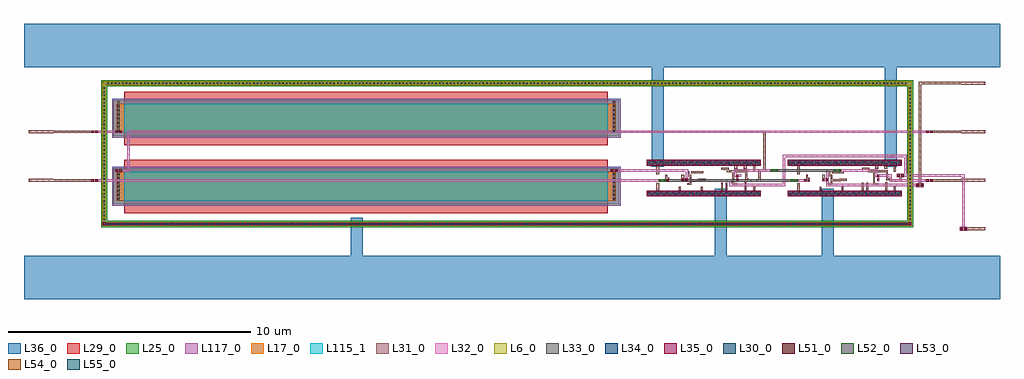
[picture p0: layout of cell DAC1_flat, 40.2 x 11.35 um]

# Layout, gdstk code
import gdstk
lib = gdstk.Library(unit=1e-6, precision=1e-09)
def R(c, l, rs):  # rectangles x0, y0, x1, y1
    for r in rs: c.add(gdstk.rectangle(r[:2], r[2:], *l))
def A(c, l, x, y, w, h, nx, ny, dx, dy):  # array of equal rectangles
    R(c, l, [(x+i*dx, y+j*dy, x+i*dx+w, y+j*dy+h) for i in range(nx) for j in range(ny)])
L6_0 = (6, 0)
L17_0 = (17, 0)
L25_0 = (25, 0)
L29_0 = (29, 0)
L30_0 = (30, 0)
L31_0 = (31, 0)
L32_0 = (32, 0)
L33_0 = (33, 0)
L34_0 = (34, 0)
L35_0 = (35, 0)
L36_0 = (36, 0)
L51_0 = (51, 0)
L52_0 = (52, 0)
L53_0 = (53, 0)
L54_0 = (54, 0)
L55_0 = (55, 0)
L115_1 = (115, 1)
L117_0 = (117, 0)

dac1_flat = lib.new_cell('DAC1_flat')
R(dac1_flat, L6_0, [(2.525,0.125,2.675,0.275), (2.675,0.125,35.725,0.275), (35.725,0.125,35.875,0.275), (2.525,0.275,2.675,5.925), (35.725,0.275,35.875,5.925), (2.525,5.925,2.675,6.075), (2.675,5.925,35.725,6.075), (35.725,5.925,35.875,6.075)])
R(dac1_flat, L17_0, [(3.125,1.15,23.675,2.35), (3.125,3.95,23.675,5.15)])
R(dac1_flat, L25_0, [(2.475,0.075,2.725,0.325), (2.675,0.075,35.725,0.325), (35.675,0.075,35.925,0.325), (2.475,0.275,2.725,5.925), (35.675,0.275,35.925,5.925), (2.985,1.01,23.815,2.49), (2.985,3.81,23.815,5.29), (2.475,5.875,2.725,6.125), (2.675,5.875,35.725,6.125), (35.675,5.875,35.925,6.125)])
R(dac1_flat, L29_0, [(3.425,0.65,23.345,2.85), (3.425,3.45,23.345,5.65)])
A(dac1_flat, L30_0, 2.745, 0.175, 0.05, 0.05, 220, 2, 0.15, 5.8)
A(dac1_flat, L30_0, 2.575, 0.375, 0.05, 0.05, 1, 37, 0, 0.15)
A(dac1_flat, L30_0, 35.775, 0.375, 0.05, 0.05, 1, 37, 0, 0.15)
A(dac1_flat, L30_0, 3.175, 1.21, 0.05, 0.05, 1, 7, 0, 0.17)
A(dac1_flat, L30_0, 23.575, 1.21, 0.05, 0.05, 1, 7, 0, 0.17)
A(dac1_flat, L30_0, 3.175, 4.01, 0.05, 0.05, 1, 7, 0, 0.17)
A(dac1_flat, L30_0, 23.575, 4.01, 0.05, 0.05, 1, 7, 0, 0.17)
A(dac1_flat, L31_0, 37.9, -0.065, 1, 0.13, 1, 4, 0, 2)
R(dac1_flat, L31_0, [(37.84,-0.08,38.16,0.08), (2.55,0.15,2.65,0.25), (2.65,0.15,2.675,0.25), (2.675,0.15,35.725,0.25), (35.725,0.15,35.75,0.25), (35.75,0.15,35.85,0.25), (2.55,0.25,2.65,0.275), (35.75,0.25,35.85,0.275), (2.55,0.275,2.65,5.925), (35.75,0.275,35.85,5.925), (3.15,1.15,3.25,2.45), (3.15,1.15,3.25,2.35), (3.15,1.15,3.25,2.35), (23.55,1.15,23.65,2.45), (23.55,1.15,23.65,2.35), (23.55,1.15,23.65,2.35), (24.95,1.35,25.68,1.58), (25.68,1.35,29.65,1.58), (30.75,1.35,31.48,1.58), (31.48,1.35,35.45,1.58), (25.34,1.58,25.46,1.875), (26.275,1.58,26.345,1.735), (27.18,1.58,27.25,1.745), (28.015,1.58,28.085,1.91), (28.195,1.58,28.265,1.905), (28.98,1.58,29.05,1.93), (29.33,1.58,29.41,1.765), (31.14,1.58,31.26,1.875), (32.075,1.58,32.145,1.735), (32.98,1.58,33.05,1.745), (33.815,1.58,33.885,1.91), (33.995,1.58,34.065,1.905), (34.78,1.58,34.85,1.93), (35.13,1.58,35.21,1.765), (36.04,1.72,36.36,1.88), (36.15,1.75,36.25,6.05), (28.48,1.81,28.675,1.88), (34.28,1.81,34.475,1.88), (26.61,1.815,26.79,1.885), (32.41,1.815,32.59,1.885), (28.48,1.88,28.55,2.335), (34.28,1.88,34.35,2.335), (26.72,1.885,26.79,1.965), (32.52,1.885,32.59,1.965), (-0.5,1.935,0.5,2.065), (0.35,1.95,2.25,2.05), (2.04,1.95,2.36,2.05), (25.62,1.95,25.87,2.05), (25.715,1.95,25.87,2.105), (29.215,1.95,29.65,2.05), (29.55,1.95,29.65,2.45), (31.42,1.95,31.67,2.05), (31.515,1.95,31.67,2.105), (35.015,1.95,35.45,2.05), (35.35,1.95,35.45,2.25), (36.44,1.95,36.76,2.05), (36.55,1.95,38.05,2.05), (26.38,1.96,26.63,2.09), (28.635,1.96,28.725,2.23), (32.18,1.96,32.43,2.09), (34.435,1.96,34.525,2.23), (26.72,1.965,27.14,1.99), (32.52,1.965,32.94,1.99), (26.72,1.99,27.38,2.035), (32.52,1.99,33.18,2.035), (29.015,2.01,29.14,2.08), (34.815,2.01,34.94,2.08), (26.72,2.035,26.79,2.16), (27.07,2.035,27.38,2.06), (32.52,2.035,32.59,2.16), (32.87,2.035,33.18,2.06), (29.015,2.08,29.085,2.335), (34.815,2.08,34.885,2.335), (26.38,2.09,26.485,2.23), (32.18,2.09,32.285,2.23), (25.715,2.105,25.785,2.235), (31.515,2.105,31.585,2.235), (35.24,2.12,35.56,2.28), (26.635,2.16,26.705,2.38), (26.705,2.16,26.79,2.23), (32.435,2.16,32.505,2.38), (32.505,2.16,32.59,2.23), (25.34,2.245,25.46,2.85), (31.14,2.245,31.26,2.85), (26.79,2.3,27.27,2.37), (32.59,2.3,33.07,2.37), (28.25,2.335,29.085,2.405), (34.05,2.335,34.885,2.405), (3.04,2.35,3.36,2.45), (23.44,2.35,23.76,2.45), (29.55,2.35,29.85,2.45), (29.75,2.35,29.85,4.05), (29.33,2.36,29.41,2.85), (35.13,2.36,35.21,2.85), (28.25,2.405,28.32,2.515), (34.05,2.405,34.12,2.515), (28.02,2.445,28.14,2.525), (28.14,2.445,28.25,2.515), (33.82,2.445,33.94,2.525), (33.94,2.445,34.05,2.515), (28.56,2.475,28.68,2.85), (28.94,2.475,29.06,2.85), (34.36,2.475,34.48,2.85), (34.74,2.475,34.86,2.85), (24.95,2.61,25.34,2.85), (25.46,2.61,25.68,2.85), (25.68,2.61,28.56,2.85), (28.68,2.61,28.94,2.85), (29.06,2.61,29.33,2.85), (29.41,2.61,29.65,2.85), (30.75,2.61,31.14,2.85), (31.26,2.61,31.48,2.85), (31.48,2.61,34.36,2.85), (34.48,2.61,34.74,2.85), (34.86,2.61,35.13,2.85), (35.21,2.61,35.45,2.85), (-0.5,3.935,0.5,4.065), (0.35,3.95,2.25,4.05), (2.04,3.95,2.36,4.05), (3.04,3.95,3.36,4.05), (3.15,3.95,3.25,5.25), (3.15,3.95,3.25,5.15), (3.15,3.95,3.25,5.15), (23.55,3.95,23.65,5.25), (23.55,3.95,23.65,5.15), (23.55,3.95,23.65,5.15), (23.55,3.95,29.85,4.05), (36.44,3.95,36.76,4.05), (36.55,3.95,38.05,4.05), (2.55,5.925,2.65,5.95), (35.75,5.925,35.85,5.95), (2.55,5.95,2.65,6.05), (2.65,5.95,2.675,6.05), (2.675,5.95,35.725,6.05), (35.725,5.95,35.75,6.05), (35.75,5.95,35.85,6.05), (36.15,5.95,38.05,6.05)])
R(dac1_flat, L32_0, [(37.84,-0.08,38.16,0.08), (37.95,-0.05,38.05,2.25), (2.55,0.15,2.65,0.25), (2.65,0.15,2.675,0.25), (2.675,0.15,35.725,0.25), (35.725,0.15,35.75,0.25), (35.75,0.15,35.85,0.25), (2.55,0.25,2.65,0.275), (35.75,0.25,35.85,0.275), (24.95,1.35,29.65,1.58), (30.75,1.35,35.45,1.58), (36.04,1.72,36.36,1.88), (28.35,1.75,28.45,2.05), (28.35,1.75,30.65,1.85), (30.55,1.75,30.65,3.05), (32.35,1.75,32.45,2.05), (32.35,1.75,36.25,1.85), (2.04,1.95,2.36,2.05), (2.15,1.95,25.05,2.05), (24.95,1.95,25.87,2.05), (25.44,1.95,25.76,2.05), (26.55,1.95,28.45,2.05), (30.75,1.95,31.67,2.05), (30.86,1.95,31.18,2.05), (34.95,1.95,35.05,2.25), (34.95,1.95,36.65,2.05), (36.44,1.95,36.76,2.05), (26.38,1.96,26.63,2.09), (26.55,1.96,26.65,2.45), (28.635,1.96,28.725,2.25), (32.18,1.96,32.43,2.09), (32.35,1.96,32.45,2.45), (34.435,1.96,34.525,2.25), (35.24,2.12,35.56,2.28), (28.55,2.15,28.84,2.25), (28.55,2.15,28.65,2.45), (34.35,2.15,34.64,2.25), (34.35,2.15,34.45,2.45), (34.35,2.15,35.05,2.25), (35.35,2.15,38.05,2.25), (35.55,2.15,35.65,3.05), (3.04,2.35,3.36,2.45), (3.15,2.35,3.65,2.45), (3.55,2.35,3.65,4.05), (23.44,2.35,23.76,2.45), (23.55,2.35,26.65,2.45), (28.55,2.35,30.25,2.45), (30.04,2.35,30.36,2.45), (32.64,2.35,32.96,2.45), (32.75,2.35,34.45,2.45), (24.95,2.61,29.65,2.85), (30.75,2.61,35.45,2.85), (30.55,2.95,35.65,3.05), (2.04,3.95,2.36,4.05), (2.15,3.95,3.25,4.05), (3.04,3.95,3.36,4.05), (3.55,3.95,36.65,4.05), (36.44,3.95,36.76,4.05)])
R(dac1_flat, L33_0, [(2.55,0.15,2.65,0.25), (2.65,0.15,2.675,0.25), (2.675,0.15,35.725,0.25), (35.725,0.15,35.75,0.25), (35.75,0.15,35.85,0.25), (2.55,0.25,2.65,0.275), (35.75,0.25,35.85,0.275), (24.95,1.35,29.65,1.58), (30.75,1.35,35.45,1.58), (25.44,1.95,25.76,2.05), (25.55,1.95,28.45,2.05), (28.17,1.95,31.07,2.05), (30.86,1.95,31.18,2.05), (30.04,2.35,30.36,2.45), (30.15,2.35,31.65,2.45), (31.35,2.35,32.85,2.45), (32.64,2.35,32.96,2.45), (24.95,2.61,29.65,2.85), (30.75,2.61,35.45,2.85)])
R(dac1_flat, L34_0, [(2.55,0.15,2.65,0.25), (2.65,0.15,2.675,0.25), (2.675,0.15,35.725,0.25), (35.725,0.15,35.75,0.25), (35.75,0.15,35.85,0.25), (2.55,0.25,2.65,0.275), (35.75,0.25,35.85,0.275), (24.95,1.35,29.65,1.58), (30.75,1.35,35.45,1.58), (24.95,2.61,29.65,2.85), (30.75,2.61,35.45,2.85)])
R(dac1_flat, L35_0, [(2.55,0.15,2.65,0.25), (2.65,0.15,2.675,0.25), (2.675,0.15,35.725,0.25), (35.725,0.15,35.75,0.25), (35.75,0.15,35.85,0.25), (2.55,0.25,2.65,0.275), (35.75,0.25,35.85,0.275), (24.95,1.35,29.65,1.58), (30.75,1.35,35.45,1.58), (24.95,2.61,29.65,2.85), (30.75,2.61,35.45,2.85)])
R(dac1_flat, L36_0, [(-0.7,-2.9,39.5,-1.1), (12.75,-1.45,13.25,0.45), (27.75,-1.45,28.25,1.65), (32.15,-1.45,32.65,1.65), (2.55,0.15,2.65,0.25), (2.65,0.15,2.675,0.25), (2.675,0.15,35.725,0.25), (35.725,0.15,35.75,0.25), (35.75,0.15,35.85,0.25), (2.55,0.25,2.65,0.275), (35.75,0.25,35.85,0.275), (24.95,1.35,29.65,1.58), (30.75,1.35,35.45,1.58), (25.15,2.55,25.65,7.05), (34.75,2.55,35.25,7.05), (24.95,2.61,29.65,2.85), (30.75,2.61,35.45,2.85), (-0.7,6.65,39.5,8.45)])
A(dac1_flat, L51_0, 2.745, 0.175, 0.05, 0.05, 220, 1, 0.15, 0)
A(dac1_flat, L51_0, 25.025, 1.435, 0.05, 0.05, 31, 2, 0.15, 1.27)
A(dac1_flat, L51_0, 30.825, 1.435, 0.05, 0.05, 31, 2, 0.15, 1.27)
R(dac1_flat, L51_0, [(37.87,-0.05,37.97,0.05), (38.03,-0.05,38.13,0.05), (36.07,1.75,36.17,1.85), (36.23,1.75,36.33,1.85), (2.07,1.95,2.17,2.05), (2.23,1.95,2.33,2.05), (36.47,1.95,36.57,2.05), (36.63,1.95,36.73,2.05), (25.64,1.965,25.71,2.035), (25.78,1.965,25.85,2.035), (31.44,1.965,31.51,2.035), (31.58,1.965,31.65,2.035), (26.4,1.99,26.47,2.06), (26.54,1.99,26.61,2.06), (32.2,1.99,32.27,2.06), (32.34,1.99,32.41,2.06), (28.645,2,28.715,2.07), (34.445,2,34.515,2.07), (28.645,2.14,28.715,2.21), (34.445,2.14,34.515,2.21), (35.27,2.15,35.37,2.25), (35.43,2.15,35.53,2.25), (3.07,2.35,3.17,2.45), (3.23,2.35,3.33,2.45), (23.47,2.35,23.57,2.45), (23.63,2.35,23.73,2.45), (2.07,3.95,2.17,4.05), (2.23,3.95,2.33,4.05), (3.07,3.95,3.17,4.05), (3.23,3.95,3.33,4.05), (36.47,3.95,36.57,4.05), (36.63,3.95,36.73,4.05)])
A(dac1_flat, L52_0, 2.745, 0.175, 0.05, 0.05, 220, 1, 0.15, 0)
A(dac1_flat, L52_0, 25.025, 1.435, 0.05, 0.05, 31, 2, 0.15, 1.27)
A(dac1_flat, L52_0, 30.825, 1.435, 0.05, 0.05, 31, 2, 0.15, 1.27)
R(dac1_flat, L52_0, [(25.47,1.95,25.57,2.05), (25.63,1.95,25.73,2.05), (30.89,1.95,30.99,2.05), (31.05,1.95,31.15,2.05), (30.07,2.35,30.17,2.45), (30.23,2.35,30.33,2.45), (32.67,2.35,32.77,2.45), (32.83,2.35,32.93,2.45)])
A(dac1_flat, L53_0, 2.745, 0.175, 0.05, 0.05, 220, 1, 0.15, 0)
A(dac1_flat, L53_0, 25.025, 1.435, 0.05, 0.05, 31, 2, 0.15, 1.27)
A(dac1_flat, L53_0, 30.825, 1.435, 0.05, 0.05, 31, 2, 0.15, 1.27)
A(dac1_flat, L54_0, 2.745, 0.175, 0.05, 0.05, 220, 1, 0.15, 0)
A(dac1_flat, L54_0, 25.025, 1.435, 0.05, 0.05, 31, 2, 0.15, 1.27)
A(dac1_flat, L54_0, 30.825, 1.435, 0.05, 0.05, 31, 2, 0.15, 1.27)
A(dac1_flat, L55_0, 2.745, 0.175, 0.05, 0.05, 220, 1, 0.15, 0)
A(dac1_flat, L55_0, 25.025, 1.435, 0.05, 0.05, 31, 2, 0.15, 1.27)
A(dac1_flat, L55_0, 30.825, 1.435, 0.05, 0.05, 31, 2, 0.15, 1.27)
R(dac1_flat, L115_1, [(3.425,1.15,23.345,2.35), (3.425,3.95,23.345,5.15)])
R(dac1_flat, L117_0, [(2.925,0.95,23.875,2.55), (2.925,3.75,23.875,5.35)])

lib.write_gds('DAC1_flat.gds')
